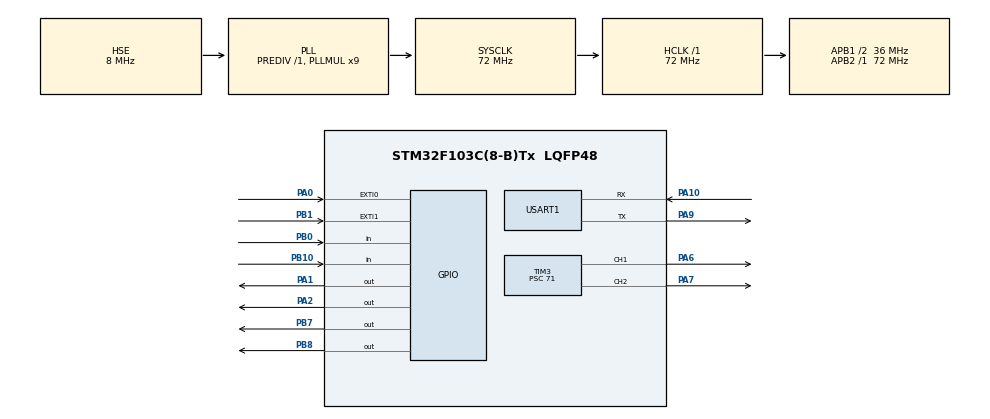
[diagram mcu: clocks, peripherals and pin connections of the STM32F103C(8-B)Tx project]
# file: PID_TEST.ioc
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Mcu.Family=STM32F1
Mcu.Name=STM32F103C(8-B)Tx
Mcu.Package=LQFP48
NVIC.EXTI0_IRQn=true\:1\:0\:true\:false\:true\:true\:true\:true
NVIC.EXTI1_IRQn=true\:1\:0\:true\:false\:true\:true\:true\:true
NVIC.PriorityGroup=NVIC_PRIORITYGROUP_4
NVIC.TIM2_IRQn=true\:2\:0\:true\:false\:true\:true\:true\:true
NVIC.USART1_IRQn=true\:0\:0\:false\:false\:true\:true\:true\:true
PA0-WKUP.GPIO_PuPd=GPIO_PULLUP
PA0-WKUP.Signal=GPXTI0
PA1.GPIO_ModeDefaultOutputPP=GPIO_MODE_OUTPUT_PP
PA1.Signal=GPIO_Output
PA10.Mode=Asynchronous
PA10.Signal=USART1_RX
PA13.Mode=Serial_Wire
PA13.Signal=SYS_JTMS-SWDIO
PA14.Mode=Serial_Wire
PA14.Signal=SYS_JTCK-SWCLK
PA2.Signal=GPIO_Output
PA6.Signal=S_TIM3_CH1
PA7.Signal=S_TIM3_CH2
PA9.Mode=Asynchronous
PA9.Signal=USART1_TX
PB0.GPIO_PuPd=GPIO_PULLUP
PB0.Signal=GPIO_Input
PB1.GPIO_PuPd=GPIO_PULLUP
PB1.Signal=GPXTI1
PB10.GPIO_PuPd=GPIO_PULLUP
PB10.Signal=GPIO_Input
PB7.Signal=GPIO_Output
PB8.Signal=GPIO_Output
PD0-OSC_IN.Mode=HSE-External-Oscillator
PD0-OSC_IN.Signal=RCC_OSC_IN
PD1-OSC_OUT.Mode=HSE-External-Oscillator
PD1-OSC_OUT.Signal=RCC_OSC_OUT
ProjectManager.HeapSize=0x200
ProjectManager.StackSize=0x400
ProjectManager.TargetToolchain=CMake
RCC.AHBFreq_Value=72000000
RCC.APB1CLKDivider=RCC_HCLK_DIV2
RCC.APB1Freq_Value=36000000
RCC.APB1TimFreq_Value=72000000
RCC.APB2Freq_Value=72000000
RCC.APB2TimFreq_Value=72000000
RCC.HCLKFreq_Value=72000000
RCC.PLLMUL=RCC_PLL_MUL9
RCC.PLLSourceVirtual=RCC_PLLSOURCE_HSE
RCC.SYSCLKFreq_VALUE=72000000
RCC.SYSCLKSource=RCC_SYSCLKSOURCE_PLLCLK
RCC.USBFreq_Value=72000000
SH.S_TIM3_CH1.0=TIM3_CH1,PWM Generation1 CH1
SH.S_TIM3_CH2.0=TIM3_CH2,PWM Generation2 CH2
TIM2.Period=199
TIM2.Prescaler=7199
TIM3.Channel-PWM\ Generation1\ CH1=TIM_CHANNEL_1
TIM3.Channel-PWM\ Generation2\ CH2=TIM_CHANNEL_2
TIM3.Period=999
TIM3.Prescaler=71
USART1.VirtualMode=VM_ASYNC
VP_TIM2_VS_ClockSourceINT.Mode=Internal
VP_TIM3_VS_ClockSourceINT.Mode=Internal
board=custom

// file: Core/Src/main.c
/* USER CODE BEGIN Header */
/**
  ******************************************************************************
  * @file           : main.c
  * @brief          : Main program body
  ******************************************************************************
  * @attention
  *
  * Copyright (c) 2026 STMicroelectronics.
  * All rights reserved.
  *
  * This software is licensed under terms that can be found in the LICENSE file
  * in the root directory of this software component.
  * If no LICENSE file comes with this software, it is provided AS-IS.
  *
  ******************************************************************************
  */
/* USER CODE END Header */
#include "main.h"
#include "tim.h"
#include "usart.h"
#include "gpio.h"

/* USER CODE BEGIN Includes */
#include "motor.h"
#include "encoder.h"
#include <stdio.h>
#include "pid.h"
#include "protocol.h"
#include "remote_control.h"
/* USER CODE END Includes */

/* USER CODE BEGIN PD */
#define PID_OUTPUT_LIMIT 999.0f
#define PID_INTEGRAL_LIMIT 4000.0f

PID_t pid_left;
PID_t pid_right;

volatile int16_t left_speed = 0;
volatile int16_t right_speed = 0;

float target_left_speed = 0.0f;
float target_right_speed = 0.0f;

int left_pwm = 0;
int right_pwm = 0;
/* USER CODE END PD */

void SystemClock_Config(void);

/* USER CODE BEGIN 0 */
static void StopControlOutput(void)
{
    PID_Clear(&pid_left);
    PID_Clear(&pid_right);
    left_pwm = 0;
    right_pwm = 0;
    Motor_Left_SetSignedPWM(0);
    Motor_Right_SetSignedPWM(0);
}

/* USER CODE END 0 */

int main(void)
{

  /* MCU Configuration--------------------------------------------------------*/

  /* Reset of all peripherals, Initializes the Flash interface and the Systick. */
  HAL_Init();

  /* Configure the system clock */
  SystemClock_Config();

  /* Initialize all configured peripherals */
  MX_GPIO_Init();
  MX_TIM2_Init();
  MX_TIM3_Init();
  MX_USART1_UART_Init();
  /* USER CODE BEGIN 2 */
  Motor_Init();
  Encoder_Init();
  RemoteControl_Init();
  Protocol_Init();
  HAL_TIM_Base_Start_IT(&htim2);

  PID_Init(&pid_left, 25.0f, 0.2f, 0.0f,
           -PID_OUTPUT_LIMIT, PID_OUTPUT_LIMIT,
           -PID_INTEGRAL_LIMIT, PID_INTEGRAL_LIMIT);
  PID_Init(&pid_right, 25.0f, 0.2f, 0.0f,
           -PID_OUTPUT_LIMIT, PID_OUTPUT_LIMIT,
           -PID_INTEGRAL_LIMIT, PID_INTEGRAL_LIMIT);

  /* USER CODE END 2 */

  /* Infinite loop */
  while (1)
  {

  }
}

void SystemClock_Config(void)
{
  RCC_OscInitTypeDef RCC_OscInitStruct = {0};
  RCC_ClkInitTypeDef RCC_ClkInitStruct = {0};

  /** Initializes the RCC Oscillators according to the specified parameters
  * in the RCC_OscInitTypeDef structure.
  */
  RCC_OscInitStruct.OscillatorType = RCC_OSCILLATORTYPE_HSE;
  RCC_OscInitStruct.HSEState = RCC_HSE_ON;
  RCC_OscInitStruct.HSEPredivValue = RCC_HSE_PREDIV_DIV1;
  RCC_OscInitStruct.HSIState = RCC_HSI_ON;
  RCC_OscInitStruct.PLL.PLLState = RCC_PLL_ON;
  RCC_OscInitStruct.PLL.PLLSource = RCC_PLLSOURCE_HSE;
  RCC_OscInitStruct.PLL.PLLMUL = RCC_PLL_MUL9;
  if (HAL_RCC_OscConfig(&RCC_OscInitStruct) != HAL_OK)
  {
    Error_Handler();
  }

  /** Initializes the CPU, AHB and APB buses clocks
  */
  RCC_ClkInitStruct.ClockType = RCC_CLOCKTYPE_HCLK|RCC_CLOCKTYPE_SYSCLK
                              |RCC_CLOCKTYPE_PCLK1|RCC_CLOCKTYPE_PCLK2;
  RCC_ClkInitStruct.SYSCLKSource = RCC_SYSCLKSOURCE_PLLCLK;
  RCC_ClkInitStruct.AHBCLKDivider = RCC_SYSCLK_DIV1;
  RCC_ClkInitStruct.APB1CLKDivider = RCC_HCLK_DIV2;
  RCC_ClkInitStruct.APB2CLKDivider = RCC_HCLK_DIV1;

  if (HAL_RCC_ClockConfig(&RCC_ClkInitStruct, FLASH_LATENCY_2) != HAL_OK)
  {
    Error_Handler();
  }
}

/* USER CODE BEGIN 4 */
void HAL_TIM_PeriodElapsedCallback(TIM_HandleTypeDef *htim)
{
    if (htim->Instance == TIM2)
    {
        int16_t left_raw = Encoder_GetLeftSpeed();
        int16_t right_raw = Encoder_GetRightSpeed();

        left_speed = (left_speed * 3 + left_raw) / 4;
        right_speed = (right_speed * 3 + right_raw) / 4;

        if (!RemoteControl_UpdateTargets(&target_left_speed, &target_right_speed))
        {
            StopControlOutput();
            return;
        }

        const RemoteControl_State_t *remote = RemoteControl_GetState();
        if (remote->throttle == 0 && remote->turn == 0)
        {
            target_left_speed = 0.0f;
            target_right_speed = 0.0f;
            StopControlOutput();
            return;
        }

        left_pwm = (int)PID_Calc(&pid_left, target_left_speed, left_speed);
        right_pwm = (int)PID_Calc(&pid_right, target_right_speed, right_speed);

        Motor_Left_SetSignedPWM(left_pwm);
        Motor_Right_SetSignedPWM(right_pwm);
    }
}
/* USER CODE END 4 */

void Error_Handler(void)
{
  __disable_irq();
  while (1)
  {
  }
}
